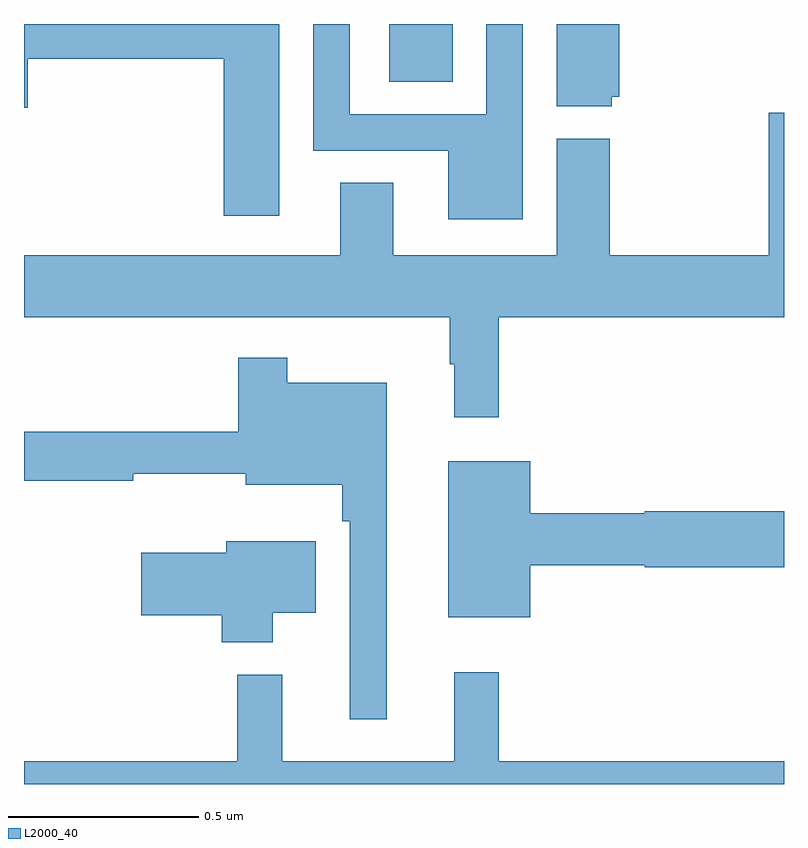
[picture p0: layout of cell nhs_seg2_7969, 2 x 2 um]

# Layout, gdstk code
import gdstk
lib = gdstk.Library(unit=1e-6, precision=1e-09)
def R(c, l, rs):  # rectangles x0, y0, x1, y1
    for r in rs: c.add(gdstk.rectangle(r[:2], r[2:], *l))
def P(c, l, *ps):  # polygons
    for p in ps: c.add(gdstk.Polygon(p, *l))
L2000_40 = (2000, 40)

nhs_seg2_7969 = lib.new_cell('nhs_seg2_7969')
R(nhs_seg2_7969, L2000_40, [(211.961,589.648,212.128,589.8)])
P(nhs_seg2_7969, L2000_40, [(212.547,589.608),(212.566,589.608),(212.566,589.8),(212.402,589.8),(212.402,589.583),(212.547,589.583)],
  [(212.313,589.8),(212.217,589.8),(212.217,589.563),(211.857,589.563),(211.857,589.8),(211.761,589.8),(211.761,589.467),(212.117,589.467),(212.117,589.286),(212.313,589.286)],
  [(211.672,589.8),(211,589.8),(211,589.579),(211.01,589.579),(211.01,589.708),(211.526,589.708),(211.526,589.296),(211.672,589.296)],
  [(212.249,589.028),(213,589.028),(213,589.567),(212.96,589.567),(212.96,589.192),(212.541,589.192),(212.541,589.498),(212.402,589.498),(212.402,589.192),(211.972,589.192),(211.972,589.382),(211.832,589.382),(211.832,589.192),(211,589.192),(211,589.028),(212.121,589.028),(212.121,588.905),(212.132,588.905),(212.132,588.765),(212.249,588.765)],
  [(211.954,588.856),(211.693,588.856),(211.693,588.922),(211.564,588.922),(211.564,588.727),(211,588.727),(211,588.598),(211.287,588.598),(211.287,588.617),(211.583,588.617),(211.583,588.587),(211.837,588.587),(211.837,588.491),(211.857,588.491),(211.857,587.97),(211.954,587.97)],
  [(212.332,588.376),(212.634,588.376),(212.634,588.371),(213,588.371),(213,588.518),(212.634,588.518),(212.634,588.512),(212.332,588.512),(212.332,588.649),(212.117,588.649),(212.117,588.239),(212.332,588.239)],
  [(211.654,588.251),(211.768,588.251),(211.768,588.439),(211.532,588.439),(211.532,588.409),(211.308,588.409),(211.308,588.244),(211.52,588.244),(211.52,588.173),(211.654,588.173)],
  [(213,587.86),(212.249,587.86),(212.249,588.094),(212.132,588.094),(212.132,587.86),(211.679,587.86),(211.679,588.088),(211.561,588.088),(211.561,587.86),(211,587.86),(211,587.8),(213,587.8)])

lib.write_gds('nhs_seg2_7969.gds')
